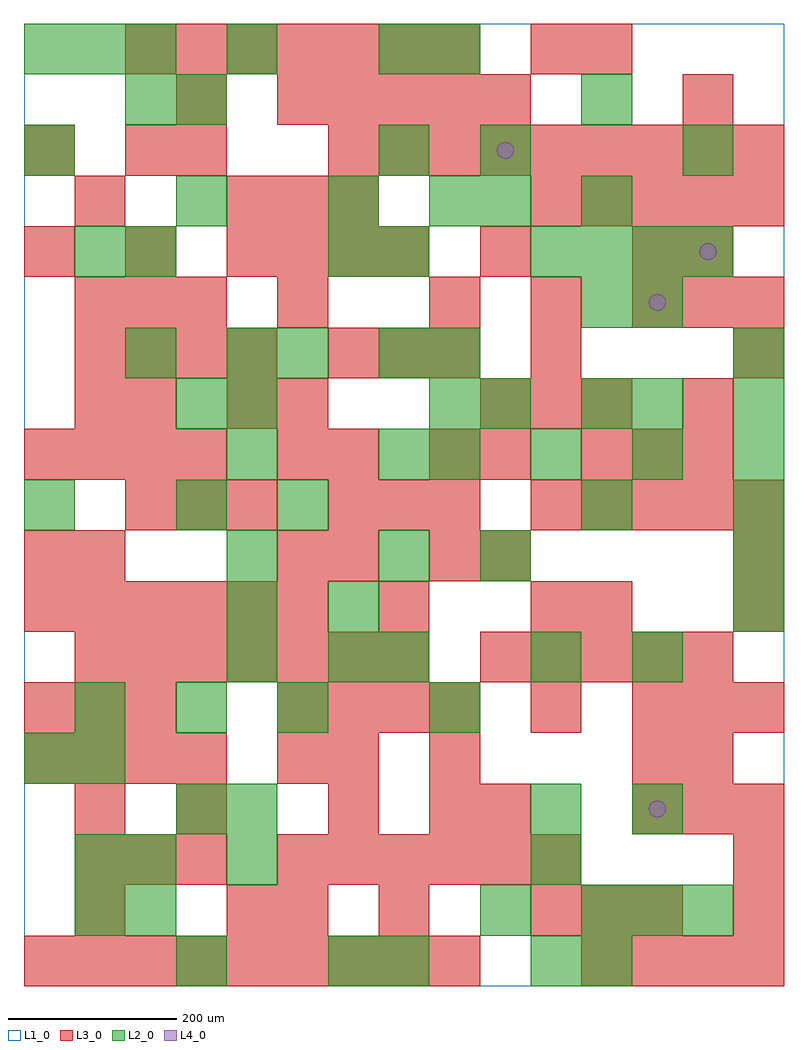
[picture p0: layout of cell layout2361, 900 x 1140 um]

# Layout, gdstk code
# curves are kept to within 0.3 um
import gdstk
lib = gdstk.Library(unit=1e-6, precision=1e-09)
def R(c, l, rs):  # rectangles x0, y0, x1, y1
    for r in rs: c.add(gdstk.rectangle(r[:2], r[2:], *l))
def A(c, l, x, y, w, h, nx, ny, dx, dy):  # array of equal rectangles
    R(c, l, [(x+i*dx, y+j*dy, x+i*dx+w, y+j*dy+h) for i in range(nx) for j in range(ny)])
def P(c, l, *ps):  # polygons
    for p in ps: c.add(gdstk.Polygon(p, *l))
L1_0 = (1, 0)
L2_0 = (2, 0)
L3_0 = (3, 0)
L4_0 = (4, 0)

layout2361 = lib.new_cell('layout2361')
R(layout2361, L1_0, [(0,0,900,1140)])
A(layout2361, L2_0, 660, 60, 60, 60, 3, 1, 60, 0)
A(layout2361, L2_0, 60, 300, 60, 60, 3, 1, 120, 0)
A(layout2361, L2_0, 240, 360, 60, 60, 1, 3, 0, 60)
A(layout2361, L2_0, 420, 360, 60, 60, 1, 7, 0, 120)
A(layout2361, L2_0, 840, 420, 60, 60, 1, 3, 0, 60)
A(layout2361, L2_0, 660, 540, 60, 60, 1, 5, 0, 120)
A(layout2361, L2_0, 240, 600, 60, 60, 1, 3, 0, 60)
A(layout2361, L2_0, 480, 600, 60, 60, 4, 1, 120, 0)
A(layout2361, L2_0, 480, 720, 60, 60, 1, 3, 0, 180)
A(layout2361, L2_0, 600, 840, 60, 60, 4, 1, 60, 0)
A(layout2361, L2_0, 0, 1080, 60, 60, 3, 1, 60, 0)
R(layout2361, L2_0, [(180,0,240,60), (360,0,420,60), (420,0,480,60), (600,0,660,60), (660,0,720,60), (60,60,120,120), (120,60,180,120), (540,60,600,120), (60,120,120,180), (120,120,180,180), (240,120,300,180), (600,120,660,180), (180,180,240,240), (240,180,300,240), (600,180,660,240), (720,180,780,240), (0,240,60,300), (60,240,120,300), (480,300,540,360), (360,360,420,420), (600,360,660,420), (720,360,780,420), (360,420,420,480), (540,480,600,540), (0,540,60,600), (180,540,240,600), (300,540,360,600), (180,660,240,720), (480,660,540,720), (540,660,600,720), (720,660,780,720), (840,660,900,720), (120,720,180,780), (300,720,360,780), (840,720,900,780), (720,780,780,840), (60,840,120,900), (120,840,180,900), (360,840,420,900), (180,900,240,960), (360,900,420,960), (540,900,600,960), (0,960,60,1020), (540,960,600,1020), (780,960,840,1020), (120,1020,180,1080), (180,1020,240,1080), (240,1080,300,1140)])
A(layout2361, L3_0, 0, 0, 60, 60, 9, 1, 60, 0)
A(layout2361, L3_0, 660, 0, 60, 60, 4, 1, 60, 0)
A(layout2361, L3_0, 600, 60, 60, 60, 3, 1, 60, 0)
A(layout2361, L3_0, 60, 120, 60, 60, 3, 2, 60, 660)
A(layout2361, L3_0, 300, 120, 60, 60, 6, 1, 60, 0)
A(layout2361, L3_0, 720, 180, 60, 60, 3, 2, 60, 120)
A(layout2361, L3_0, 0, 240, 60, 60, 4, 2, 60, 360)
A(layout2361, L3_0, 0, 300, 60, 60, 3, 1, 60, 0)
A(layout2361, L3_0, 300, 300, 60, 60, 4, 1, 60, 0)
A(layout2361, L3_0, 60, 360, 60, 60, 7, 1, 60, 0)
A(layout2361, L3_0, 540, 360, 60, 60, 5, 1, 60, 0)
A(layout2361, L3_0, 0, 420, 60, 60, 6, 1, 60, 0)
A(layout2361, L3_0, 120, 540, 60, 60, 3, 1, 60, 0)
A(layout2361, L3_0, 360, 540, 60, 60, 3, 2, 60, 180)
A(layout2361, L3_0, 600, 540, 60, 60, 5, 2, 60, 360)
A(layout2361, L3_0, 660, 600, 60, 60, 3, 1, 60, 0)
A(layout2361, L3_0, 540, 660, 60, 60, 3, 1, 60, 0)
A(layout2361, L3_0, 60, 720, 60, 60, 4, 1, 60, 0)
A(layout2361, L3_0, 480, 780, 60, 60, 3, 1, 120, 0)
A(layout2361, L3_0, 0, 840, 60, 60, 3, 1, 120, 0)
A(layout2361, L3_0, 300, 840, 60, 60, 3, 1, 60, 0)
A(layout2361, L3_0, 240, 900, 60, 60, 3, 1, 60, 0)
A(layout2361, L3_0, 360, 960, 60, 60, 9, 1, 60, 0)
A(layout2361, L3_0, 300, 1020, 60, 60, 5, 1, 60, 0)
A(layout2361, L3_0, 120, 1080, 60, 60, 7, 1, 60, 0)
R(layout2361, L3_0, [(60,60,120,120), (240,60,300,120), (300,60,360,120), (420,60,480,120), (840,60,900,120), (840,120,900,180), (60,180,120,240), (180,180,240,240), (360,180,420,240), (480,180,540,240), (540,180,600,240), (300,240,360,300), (360,240,420,300), (480,240,540,300), (720,240,780,300), (780,240,840,300), (600,300,660,360), (420,420,480,480), (600,420,660,480), (660,420,720,480), (840,420,900,480), (0,480,60,540), (60,480,120,540), (300,480,360,540), (360,480,420,540), (480,480,540,540), (540,480,600,540), (840,480,900,540), (300,600,360,660), (360,600,420,660), (480,600,540,660), (540,600,600,660), (60,660,120,720), (120,660,180,720), (240,660,300,720), (300,660,360,720), (780,660,840,720), (600,720,660,780), (840,720,900,780), (300,780,360,840), (780,780,840,840), (840,780,900,840), (540,840,600,900), (720,840,780,900), (780,840,840,900), (60,900,120,960), (0,960,60,1020), (120,960,180,1020), (180,960,240,1020), (180,1020,240,1080), (780,1020,840,1080), (600,1080,660,1140), (660,1080,720,1140)])
P(layout2361, L4_0, [(580,990),(579.239,993.827),(577.071,997.071),(573.827,999.239),(570,1000),(566.173,999.239),(562.929,997.071),(560.761,993.827),(560,990),(560.761,986.173),(562.929,982.929),(566.173,980.761),(570,980),(573.827,980.761),(577.071,982.929),(579.239,986.173)],
  [(760,210),(759.239,213.827),(757.071,217.071),(753.827,219.239),(750,220),(746.173,219.239),(742.929,217.071),(740.761,213.827),(740,210),(740.761,206.173),(742.929,202.929),(746.173,200.761),(750,200),(753.827,200.761),(757.071,202.929),(759.239,206.173)],
  [(760,810),(759.239,813.827),(757.071,817.071),(753.827,819.239),(750,820),(746.173,819.239),(742.929,817.071),(740.761,813.827),(740,810),(740.761,806.173),(742.929,802.929),(746.173,800.761),(750,800),(753.827,800.761),(757.071,802.929),(759.239,806.173)],
  [(820,870),(819.239,873.827),(817.071,877.071),(813.827,879.239),(810,880),(806.173,879.239),(802.929,877.071),(800.761,873.827),(800,870),(800.761,866.173),(802.929,862.929),(806.173,860.761),(810,860),(813.827,860.761),(817.071,862.929),(819.239,866.173)])

lib.write_gds('layout2361.gds')
